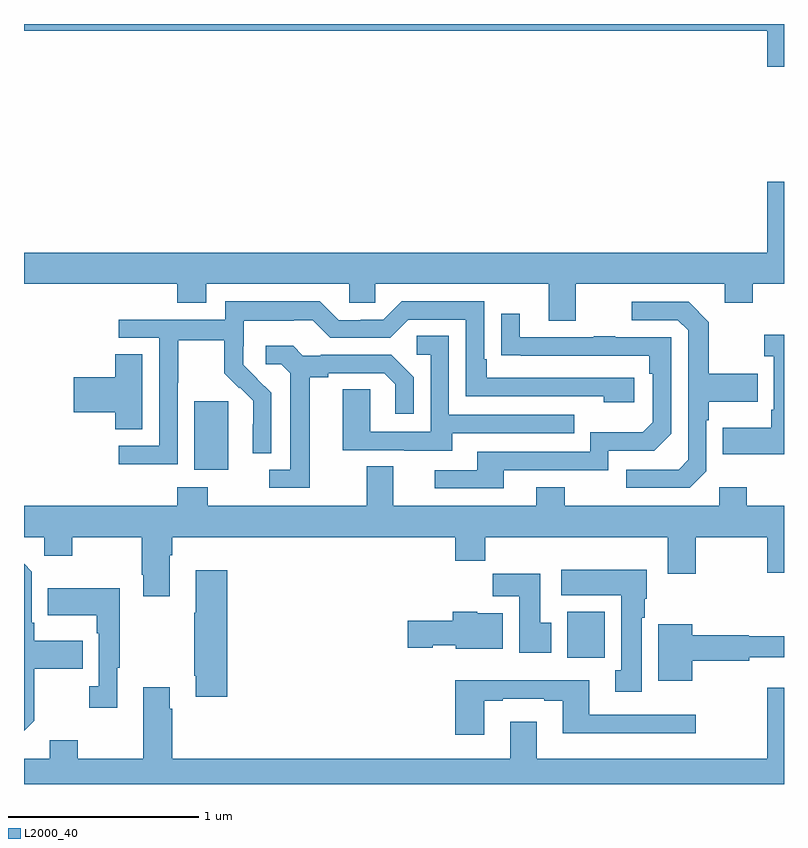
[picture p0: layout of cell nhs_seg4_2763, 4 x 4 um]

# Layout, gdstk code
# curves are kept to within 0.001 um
import gdstk
lib = gdstk.Library(unit=1e-6, precision=1e-09)
def R(c, l, rs):  # rectangles x0, y0, x1, y1
    for r in rs: c.add(gdstk.rectangle(r[:2], r[2:], *l))
def P(c, l, *ps):  # polygons
    for p in ps: c.add(gdstk.Polygon(p, *l))
L2000_40 = (2000, 40)

nhs_seg4_2763 = lib.new_cell('nhs_seg4_2763')
R(nhs_seg4_2763, L2000_40, [(259.859,749.564,260.056,749.806), (257.897,750.554,258.076,750.915)])
P(nhs_seg4_2763, L2000_40, [(261,752.9),(257,752.9),(257,752.864),(260.912,752.864),(260.912,752.676),(261,752.676)],
  [(259.903,751.532),(260.687,751.532),(260.687,751.433),(260.835,751.433),(260.835,751.532),(261,751.532),(261,752.071),(260.912,752.071),(260.912,751.696),(257,751.696),(257,751.532),(257.807,751.532),(257.807,751.433),(257.959,751.433),(257.959,751.532),(258.711,751.532),(258.711,751.434),(258.849,751.434),(258.849,751.532),(259.763,751.532),(259.763,751.338),(259.903,751.338)],
  [(257.808,751.012),(257.811,751.012),(257.811,751.236),(258.055,751.236),(258.055,751.061),(258.132,750.984),(258.135,750.987),(258.206,750.917),(258.206,750.794),(258.204,750.794),(258.204,750.64),(258.3,750.64),(258.3,750.958),(258.154,751.106),(258.154,751.203),(258.156,751.203),(258.156,751.337),(258.419,751.337),(258.419,751.341),(258.519,751.341),(258.612,751.248),(258.927,751.248),(259.023,751.344),(259.326,751.344),(259.326,750.942),(260.051,750.942),(260.051,750.908),(260.212,750.908),(260.212,751.038),(259.435,751.038),(259.435,751.135),(259.422,751.135),(259.422,751.44),(258.987,751.44),(258.891,751.344),(258.773,751.344),(258.773,751.341),(258.657,751.341),(258.557,751.441),(258.06,751.441),(258.06,751.344),(257.499,751.344),(257.499,751.248),(257.712,751.248),(257.712,750.681),(257.499,750.681),(257.499,750.583),(257.808,750.583)],
  [(260.592,750.546),(260.592,750.815),(260.605,750.815),(260.605,750.911),(260.861,750.911),(260.861,751.059),(260.605,751.059),(260.605,751.331),(260.499,751.437),(260.199,751.437),(260.199,751.341),(260.442,751.341),(260.496,751.287),(260.496,750.606),(260.445,750.555),(260.169,750.555),(260.169,750.459),(260.505,750.459)],
  [(259.525,750.552),(260.076,750.552),(260.076,750.654),(260.316,750.654),(260.406,750.744),(260.406,751.251),(260.111,751.251),(260.111,751.256),(259.999,751.256),(259.999,751.251),(259.609,751.251),(259.609,751.375),(259.513,751.375),(259.513,751.156),(260.29,751.155),(260.29,751.058),(260.31,751.058),(260.31,750.804),(260.257,750.751),(259.98,750.751),(259.98,750.648),(259.385,750.648),(259.385,750.552),(259.161,750.552),(259.161,750.456),(259.525,750.456)],
  [(261,751.264),(260.895,751.264),(260.895,751.151),(260.946,751.151),(260.946,750.871),(260.934,750.871),(260.934,750.775),(260.677,750.775),(260.677,750.635),(261,750.635)],
  [(259.255,750.747),(259.895,750.747),(259.895,750.843),(259.236,750.843),(259.236,751.259),(259.068,751.259),(259.068,751.158),(259.14,751.158),(259.14,750.753),(258.822,750.753),(258.822,750.977),(258.677,750.977),(258.677,750.657),(259.001,750.657),(259.001,750.653),(259.255,750.653)],
  [(258.505,751.04),(258.601,751.04),(258.601,751.062),(258.896,751.062),(258.953,751.005),(258.953,750.849),(259.05,750.849),(259.05,751.042),(258.934,751.158),(258.562,751.158),(258.562,751.155),(258.468,751.155),(258.416,751.207),(258.273,751.207),(258.273,751.11),(258.354,751.11),(258.401,751.063),(258.401,750.555),(258.291,750.555),(258.291,750.459),(258.505,750.459)],
  [(257.623,751.163),(257.48,751.163),(257.48,751.04),(257.262,751.04),(257.262,750.857),(257.48,750.857),(257.48,750.766),(257.623,750.766)],
  [(257.767,750.104),(257.779,750.104),(257.779,750.2),(259.271,750.2),(259.271,750.076),(259.427,750.076),(259.427,750.2),(260.387,750.2),(260.387,750.006),(260.535,750.006),(260.535,750.2),(260.912,750.2),(260.912,750.012),(261,750.012),(261,750.364),(260.805,750.364),(260.805,750.463),(260.658,750.463),(260.658,750.364),(259.845,750.364),(259.845,750.463),(259.697,750.463),(259.697,750.364),(258.943,750.364),(258.943,750.572),(258.803,750.572),(258.803,750.364),(257.967,750.364),(257.967,750.463),(257.807,750.463),(257.807,750.364),(257,750.364),(257,750.2),(257.106,750.2),(257.106,750.101),(257.253,750.101),(257.253,750.2),(257.62,750.2),(257.62,750.001),(257.627,750.001),(257.627,749.889),(257.767,749.889)],
  [(257.053,749.233),(257.053,749.506),(257.309,749.506),(257.309,749.653),(257.053,749.653),(257.053,749.749),(257.04,749.749),(257.04,750.018),(257,750.058),(257,749.18)],
  [(260.251,749.774),(260.266,749.774),(260.266,749.874),(260.278,749.874),(260.278,750.028),(259.827,750.028),(259.827,749.894),(260.144,749.894),(260.144,749.498),(260.111,749.498),(260.111,749.385),(260.251,749.385)],
  [(258.071,750.025),(257.903,750.025),(257.903,749.801),(257.896,749.801),(257.896,749.47),(257.903,749.47),(257.903,749.358),(258.071,749.358)],
  [(259.774,749.748),(259.717,749.748),(259.717,750.007),(259.468,750.007),(259.468,749.888),(259.607,749.888),(259.607,749.592),(259.774,749.592)],
  [(257.491,749.513),(257.503,749.513),(257.503,749.929),(257.125,749.929),(257.125,749.789),(257.382,749.789),(257.382,749.693),(257.394,749.693),(257.394,749.414),(257.343,749.414),(257.343,749.301),(257.491,749.301)],
  [(259.519,749.8),(259.386,749.8),(259.386,749.806),(259.256,749.806),(259.256,749.76),(259.02,749.76),(259.02,749.618),(259.152,749.618),(259.152,749.63),(259.272,749.63),(259.272,749.612),(259.519,749.612)],
  [(260.518,749.548),(260.816,749.548),(260.816,749.567),(261,749.567),(261,749.677),(260.814,749.677),(260.814,749.684),(260.518,749.684),(260.518,749.74),(260.339,749.74),(260.339,749.444),(260.518,749.444)],
  [(259.423,749.337),(259.519,749.337),(259.519,749.349),(259.739,749.349),(259.739,749.337),(259.835,749.337),(259.835,749.168),(260.536,749.168),(260.536,749.265),(259.975,749.265),(259.975,749.446),(259.271,749.446),(259.271,749.16),(259.423,749.16)],
  [(261,749.407),(260.912,749.407),(260.912,749.032),(259.699,749.032),(259.699,749.227),(259.559,749.227),(259.559,749.032),(257.779,749.032),(257.779,749.297),(257.767,749.297),(257.767,749.41),(257.627,749.41),(257.627,749.032),(257.283,749.032),(257.283,749.131),(257.135,749.131),(257.135,749.032),(257,749.032),(257,748.9),(261,748.9)])

lib.write_gds('nhs_seg4_2763.gds')
